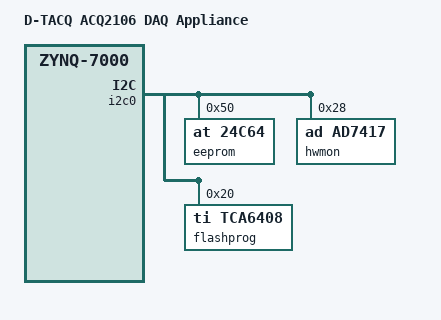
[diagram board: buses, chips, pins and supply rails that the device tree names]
/*
 * Copyright (C) 2013-2019 D-TACQ Solutions Ltd - http://www.d-tacq.com/
 *
 * This program is free software; you can redistribute it and/or modify
 * it under the terms of the GNU General Public License version 2 as
 * published by the Free Software Foundation.
 */

/dts-v1/;
#include "acq2106_common.dtsi"

/ {
	model = "D-TACQ ACQ2106 DAQ Appliance";
	compatible = "xlnx,zynq-zed", "xlnx,zynq-7000";

	chosen {
		bootargs = "";
		stdout-path = "serial0:115200n8";
		build="__DATE__";	
		descr="device tree for ACQ2106, SIX SITES supports MGT-DRAM";
		model="acq2106";
		compatible_model="acq2106";		
	};
};	


&i2c0 {
	/* MGT site. Valid MGT-DRAM. Use acq2106sfp.dts for MGT482 */
	i2c@7 {
		#address-cells = <1>;
		#size-cells = <0>;
		reg = <0x7>;
		
		eeprom@50 {
			compatible = "at,24c64";
			reg = <0x50>;
		};
		hwmon@28 {
			compatible="ad,ad7417";
			reg=<0x28>;
		};
		flashprog: gpio@20 {
			compatible="ti,tca6408";
			reg=<0x20>;
		};						
	};
};

